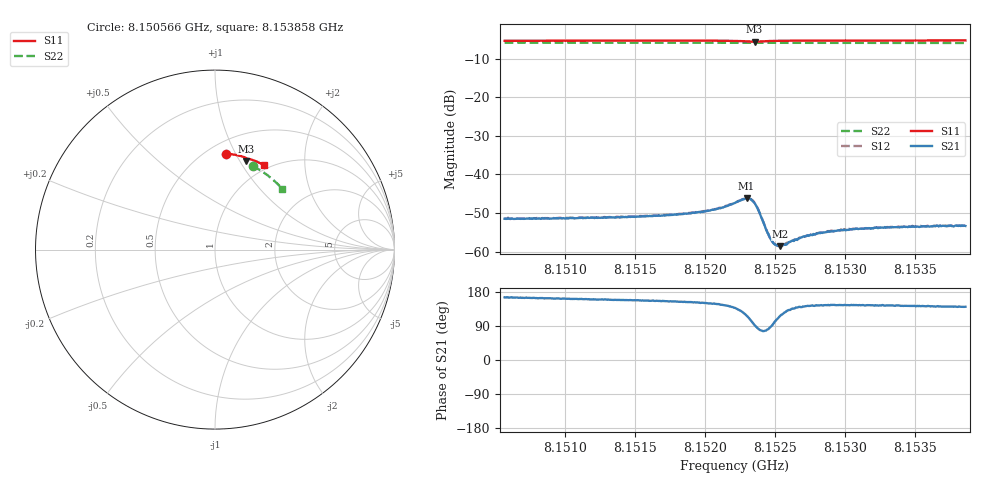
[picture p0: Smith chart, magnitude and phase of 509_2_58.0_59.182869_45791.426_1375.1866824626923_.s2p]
#  HZ  S  RI  R  50.00
! Rohde & Schwarz Vector Network Analyzer
! Rohde-Schwarz,ZNB20-2Port,1311601062101988,3.16
! Created: UTC 3/21/2024, 1:13:06 AM
! freq[Hz]  re:S11  im:S11  re:S21  im:S21  re:S12  im:S12  re:S22  im:S22
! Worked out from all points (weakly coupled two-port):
!   401 points, 8.150566 GHz to 8.153858 GHz, reference 50 ohm
!   highest |S21| = -46.21 dB at 8.152294 GHz (marker M1); lowest = -58.6 dB at 8.152533 GHz (marker M2)
!   lowest |S11| = -5.6 dB at 8.152352 GHz (marker M3), VSWR 3.20, Z = 39.3 + j53.4 ohm
!   |S11| at or under -10 dB: nowhere
!   |S22| runs from -5.9 to -5.9 dB; largest |S21 - S12| = 0.00011
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8.150566e9  0.0617 0.5353  -0.00258 0.000674  -0.00258 0.000735  0.2097 0.4646
8.1511174e9  0.1001 0.5304  -0.0026 0.000894  -0.00258 0.000965  0.2408 0.4482
8.1516687e9  0.1384 0.5225  -0.00268 0.00121  -0.00268 0.00125  0.2709 0.43
8.1517839e9  0.1466 0.5203  -0.00275 0.0013  -0.00271 0.00135  0.2769 0.4258
8.1519978e9  0.1622 0.5154  -0.0029 0.00166  -0.0029 0.0017  0.2882 0.4179
8.1521213e9  0.1717 0.5111  -0.00309 0.00211  -0.00309 0.00214  0.2945 0.4131
8.1522118e9  0.1788 0.5058  -0.00315 0.00289  -0.00315 0.00298  0.299 0.4094
8.1522941e9  0.1813 0.4965  -0.00226 0.00434  -0.00223 0.00443  0.303 0.406
8.152327e9  0.1784 0.4936  -0.00111 0.00459  -0.00107 0.00465  0.3044 0.4047
8.1523517e9  0.1752 0.4938  -0.000137 0.00427  -0.000116 0.00429  0.3055 0.4038
8.1523846e9  0.1729 0.4972  0.000537 0.00322  0.000605 0.00324  0.3071 0.4027
8.1524422e9  0.1764 0.5032  0.000297 0.00177  0.000334 0.00177  0.3099 0.4008
8.1524669e9  0.179 0.5043  5.85e-05 0.00145  4.72e-05 0.00146  0.3113 0.3998
8.1524998e9  0.1824 0.5051  -0.000273 0.00119  -0.000219 0.00121  0.3129 0.3986
8.1525327e9  0.1856 0.5053  -0.000513 0.00106  -0.00052 0.00109  0.3146 0.3971
8.1525656e9  0.1886 0.5052  -0.000713 0.001  -0.00073 0.00101  0.3161 0.3958
8.1526068e9  0.1922 0.5045  -0.000898 0.000996  -0.000927 0.00101  0.3183 0.3942
8.152689e9  0.1989 0.5029  -0.00117 0.000997  -0.00117 0.000995  0.3222 0.3909
8.1527631e9  0.2044 0.5013  -0.00132 0.000958  -0.00133 0.00105  0.3259 0.3878
8.1529606e9  0.2182 0.4962  -0.00155 0.00108  -0.00153 0.00108  0.335 0.3792
8.1533144e9  0.2415 0.4862  -0.00168 0.00121  -0.00166 0.00124  0.3513 0.3636
8.1538575e9  0.2751 0.469  -0.00166 0.00137  -0.00165 0.00143  0.3744 0.3385
